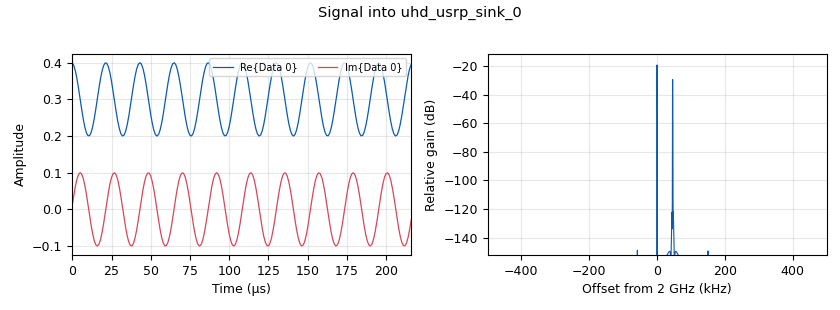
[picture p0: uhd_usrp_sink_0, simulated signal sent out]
options:
  parameters:
    author: Juan Mateo Albán Méndez
    generate_options: qt_gui
    id: signalref
    output_language: python
    title: Reference tone signal
  states: {}

blocks:
- name: samp_rate
  id: variable
  parameters:
    value: 1e6
  states: {}
- name: analog_sig_source_x_0
  id: analog_sig_source_x
  parameters:
    amp: '1'
    freq: 46e3
    offset: '0'
    phase: '0'
    samp_rate: 1e6
    type: complex
    waveform: analog.GR_COS_WAVE
  states: {}
- name: blocks_add_const_vxx_0
  id: blocks_add_const_vxx
  parameters:
    const: '0.3'
    type: complex
  states: {}
- name: blocks_multiply_const_vxx_0
  id: blocks_multiply_const_vxx
  parameters:
    const: '0.1'
    type: complex
  states: {}
- name: uhd_usrp_sink_0
  id: uhd_usrp_sink
  parameters:
    ant0: TX/RX
    bw0: 200e3
    center_freq0: 2e9
    dev_addr: '"serial=30F40FC"'
    dev_args: '""'
    gain0: '50'
    len_tag_name: ''
    norm_gain0: 'False'
    samp_rate: 1e6
    sync: none
    type: fc32
  states: {}

connections:
- [analog_sig_source_x_0, '0', blocks_multiply_const_vxx_0, '0']
- [blocks_add_const_vxx_0, '0', uhd_usrp_sink_0, '0']
- [blocks_multiply_const_vxx_0, '0', blocks_add_const_vxx_0, '0']

metadata:
  file_format: 1
